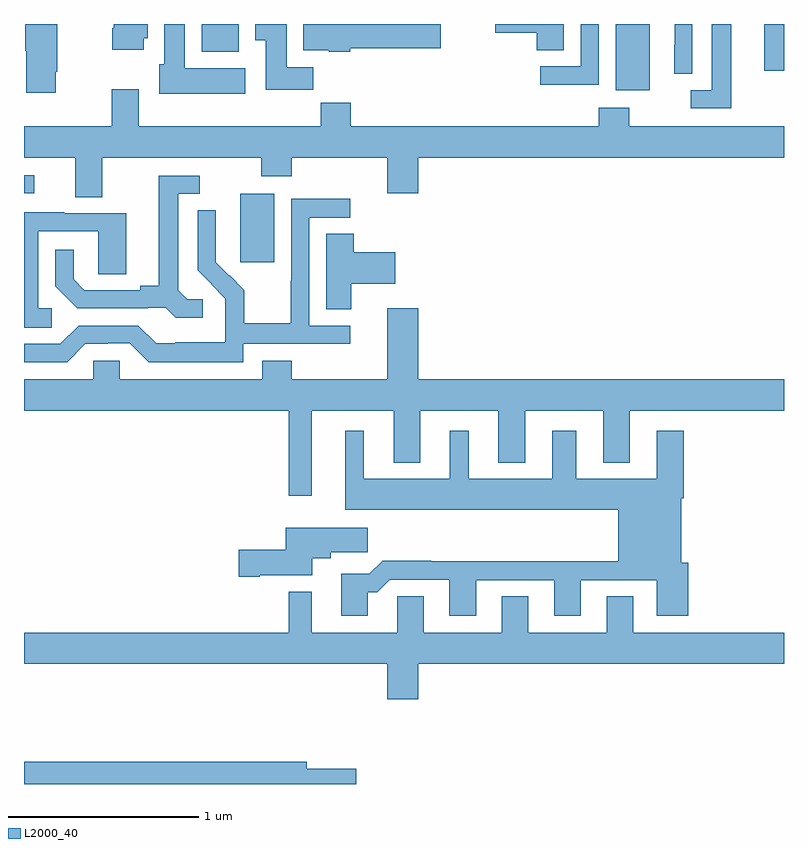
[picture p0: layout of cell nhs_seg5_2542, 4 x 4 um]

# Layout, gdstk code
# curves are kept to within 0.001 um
import gdstk
lib = gdstk.Library(unit=1e-6, precision=1e-09)
def R(c, l, rs):  # rectangles x0, y0, x1, y1
    for r in rs: c.add(gdstk.rectangle(r[:2], r[2:], *l))
def P(c, l, *ps):  # polygons
    for p in ps: c.add(gdstk.Polygon(p, *l))
L2000_40 = (2000, 40)

nhs_seg5_2542 = lib.new_cell('nhs_seg5_2542')
R(nhs_seg5_2542, L2000_40, [(260.138,853.545,260.317,853.906), (259,853.908,259.054,854.004), (262.115,854.45,262.294,854.799), (262.895,854.553,263,854.799), (259.935,854.654,260.131,854.799)])
P(nhs_seg5_2542, L2000_40, [(262.723,854.799),(262.619,854.799),(262.619,854.451),(262.509,854.451),(262.509,854.355),(262.723,854.355)],
  [(260.718,854.671),(261.193,854.671),(261.193,854.799),(260.471,854.799),(260.471,854.66),(260.604,854.66),(260.604,854.654),(260.718,854.654)],
  [(262.518,854.799),(262.424,854.799),(262.424,854.69),(262.422,854.69),(262.422,854.536),(262.518,854.536)],
  [(262.026,854.799),(261.93,854.799),(261.93,854.577),(261.717,854.577),(261.717,854.479),(262.026,854.479)],
  [(260.164,854.566),(259.846,854.566),(259.846,854.799),(259.739,854.799),(259.739,854.586),(259.712,854.586),(259.712,854.432),(260.164,854.432)],
  [(260.522,854.572),(260.383,854.572),(260.383,854.799),(260.216,854.799),(260.216,854.713),(260.273,854.713),(260.273,854.454),(260.522,854.454)],
  [(259.63,854.724),(259.651,854.724),(259.651,854.799),(259.472,854.799),(259.472,854.776),(259.465,854.776),(259.465,854.664),(259.63,854.664)],
  [(261.841,854.799),(261.48,854.799),(261.48,854.753),(261.698,854.753),(261.698,854.662),(261.841,854.662)],
  [(259.168,854.548),(259.176,854.548),(259.176,854.799),(259.006,854.799),(259.006,854.659),(259.013,854.659),(259.013,854.436),(259.168,854.436)],
  [(259.411,854.096),(260.248,854.096),(260.248,853.997),(260.408,853.997),(260.408,854.096),(260.912,854.096),(260.912,853.908),(261.076,853.908),(261.076,854.096),(263,854.096),(263,854.26),(262.185,854.26),(262.185,854.359),(262.025,854.359),(262.025,854.26),(260.72,854.26),(260.72,854.384),(260.563,854.384),(260.563,854.26),(259.603,854.26),(259.603,854.455),(259.463,854.455),(259.463,854.26),(259,854.26),(259,854.096),(259.271,854.096),(259.271,853.888),(259.411,853.888)],
  [(259.942,853.35),(259.86,853.35),(259.813,853.397),(259.813,853.905),(259.924,853.905),(259.924,854.001),(259.709,854.001),(259.709,853.421),(259.613,853.421),(259.613,853.398),(259.318,853.398),(259.261,853.455),(259.261,853.612),(259.164,853.612),(259.164,853.418),(259.28,853.302),(259.652,853.302),(259.652,853.305),(259.746,853.305),(259.798,853.253),(259.942,853.253)],
  [(260.154,853.116),(260.716,853.116),(260.716,853.212),(260.502,853.212),(260.502,853.779),(260.716,853.779),(260.716,853.878),(260.406,853.878),(260.406,853.448),(260.404,853.448),(260.404,853.225),(260.159,853.225),(260.159,853.399),(260.082,853.476),(260.079,853.473),(260.009,853.544),(260.01,853.82),(259.914,853.82),(259.914,853.502),(260.06,853.354),(260.06,853.257),(260.058,853.257),(260.058,853.123),(259.795,853.123),(259.795,853.119),(259.695,853.119),(259.602,853.212),(259.287,853.212),(259.191,853.116),(259,853.116),(259,853.02),(259.227,853.02),(259.323,853.116),(259.442,853.116),(259.442,853.119),(259.557,853.119),(259.657,853.019),(260.154,853.019)],
  [(259.147,853.302),(259.074,853.302),(259.074,853.707),(259.392,853.707),(259.392,853.483),(259.537,853.483),(259.537,853.803),(259.213,853.803),(259.213,853.807),(259,853.807),(259,853.201),(259.147,853.201)],
  [(260.722,853.433),(260.953,853.433),(260.953,853.599),(260.735,853.599),(260.735,853.694),(260.591,853.694),(260.591,853.297),(260.722,853.297)],
  [(260.515,852.764),(260.945,852.764),(260.945,852.491),(261.085,852.491),(261.085,852.764),(261.497,852.764),(261.497,852.491),(261.637,852.491),(261.637,852.764),(262.049,852.764),(262.049,852.491),(262.189,852.491),(262.189,852.764),(263,852.764),(263,852.928),(261.076,852.928),(261.076,853.303),(260.912,853.303),(260.912,852.928),(260.408,852.928),(260.408,853.027),(260.255,853.027),(260.255,852.928),(259.503,852.928),(259.503,853.026),(259.365,853.026),(259.365,852.928),(259,852.928),(259,852.764),(260.394,852.764),(260.394,852.315),(260.515,852.315)],
  [(260.809,851.807),(260.858,851.807),(260.925,851.874),(261.239,851.874),(261.239,851.685),(261.379,851.685),(261.379,851.871),(261.791,851.871),(261.791,851.685),(261.931,851.685),(261.931,851.871),(262.331,851.871),(262.331,851.685),(262.496,851.685),(262.496,851.964),(262.459,851.964),(262.459,852.302),(262.472,852.302),(262.472,852.658),(262.331,852.658),(262.331,852.406),(261.907,852.406),(261.907,852.658),(261.779,852.658),(261.779,852.406),(261.34,852.406),(261.34,852.658),(261.242,852.658),(261.242,852.406),(260.788,852.406),(260.788,852.658),(260.69,852.658),(260.69,852.242),(262.127,852.242),(262.127,851.972),(261.143,851.972),(261.143,851.975),(260.888,851.975),(260.818,851.905),(260.669,851.905),(260.669,851.685),(260.809,851.685)],
  [(260.242,851.897),(260.518,851.897),(260.518,851.987),(260.614,851.987),(260.614,852.019),(260.809,852.019),(260.809,852.148),(260.378,852.148),(260.378,852.032),(260.13,852.032),(260.13,851.89),(260.242,851.89)],
  [(261.076,851.432),(263,851.432),(263,851.596),(262.207,851.596),(262.207,851.786),(262.067,851.786),(262.067,851.596),(261.655,851.596),(261.655,851.786),(261.515,851.786),(261.515,851.596),(261.103,851.596),(261.103,851.786),(260.964,851.786),(260.964,851.596),(260.515,851.596),(260.515,851.812),(260.394,851.812),(260.394,851.596),(259,851.596),(259,851.432),(260.912,851.432),(260.912,851.244),(261.076,851.244)],
  [(260.749,850.88),(260.488,850.88),(260.488,850.916),(259,850.916),(259,850.799),(260.749,850.799)])

lib.write_gds('nhs_seg5_2542.gds')
